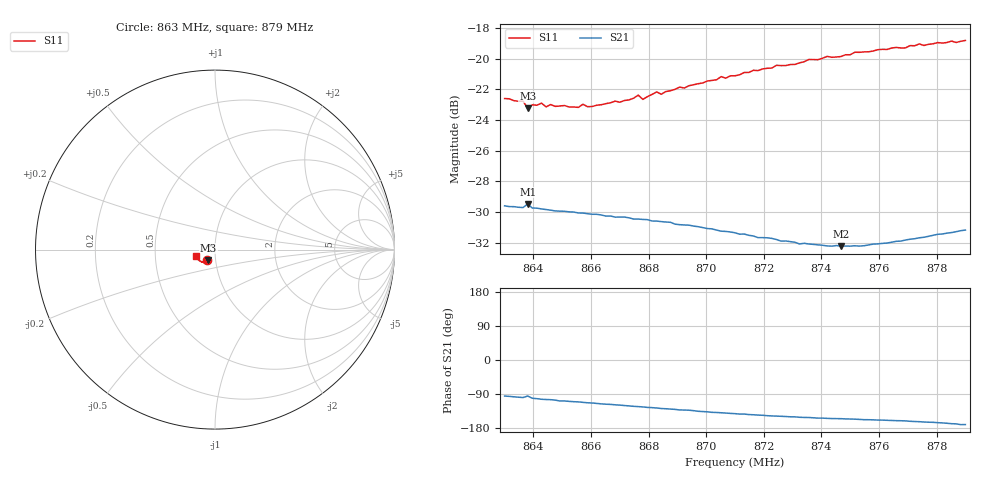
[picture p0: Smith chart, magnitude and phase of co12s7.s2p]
# HZ S RI R 50
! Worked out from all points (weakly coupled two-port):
!   101 points, 863 MHz to 879 MHz, reference 50 ohm
!   highest |S21| = -29.48 dB at 863.8 MHz (marker M1); lowest = -32.2 dB at 874.68 MHz (marker M2)
!   lowest |S11| = -23.2 dB at 863.8 MHz (marker M3), VSWR 1.15, Z = 46.1 - j5.38 ohm
!   |S11| at or under -10 dB: start of sweep to end of sweep
!   S12 and S22 are empty: the file has one direction only
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8.63e8  -0.0466 -0.0576  -0.00296 -0.033  0 0  0 0
8.6364e8  -0.0448 -0.0571  -0.00518 -0.0323  0 0  0 0
8.638e8  -0.0371 -0.0581  -0.00297 -0.0335  0 0  0 0
8.6396e8  -0.0423 -0.0567  -0.00616 -0.032  0 0  0 0
8.6428e8  -0.042 -0.0579  -0.0076 -0.0315  0 0  0 0
8.6444e8  -0.0413 -0.056  -0.00794 -0.0312  0 0  0 0
8.646e8  -0.0418 -0.0572  -0.00815 -0.031  0 0  0 0
8.6556e8  -0.0379 -0.058  -0.011 -0.0294  0 0  0 0
8.6572e8  -0.0385 -0.0597  -0.0116 -0.0292  0 0  0 0
8.6604e8  -0.0377 -0.0588  -0.0124 -0.0286  0 0  0 0
8.67e8  -0.0377 -0.0614  -0.0148 -0.0267  0 0  0 0
8.6764e8  -0.0401 -0.0646  -0.0163 -0.0252  0 0  0 0
8.678e8  -0.0374 -0.0634  -0.0167 -0.0249  0 0  0 0
8.6828e8  -0.0395 -0.0671  -0.0176 -0.0237  0 0  0 0
8.6844e8  -0.0389 -0.0659  -0.0182 -0.0232  0 0  0 0
8.7052e8  -0.0499 -0.0717  -0.0208 -0.0179  0 0  0 0
8.71e8  -0.0509 -0.0717  -0.0212 -0.0168  0 0  0 0
8.7372e8  -0.0698 -0.0705  -0.022 -0.0115  0 0  0 0
8.7468e8  -0.0766 -0.0666  -0.0222 -0.0104  0 0  0 0
8.7516e8  -0.0819 -0.0655  -0.0225 -0.00994  0 0  0 0
8.7644e8  -0.0912 -0.0582  -0.0237 -0.0088  0 0  0 0
8.79e8  -0.1083 -0.0372  -0.0272 -0.00461  0 0  0 0
